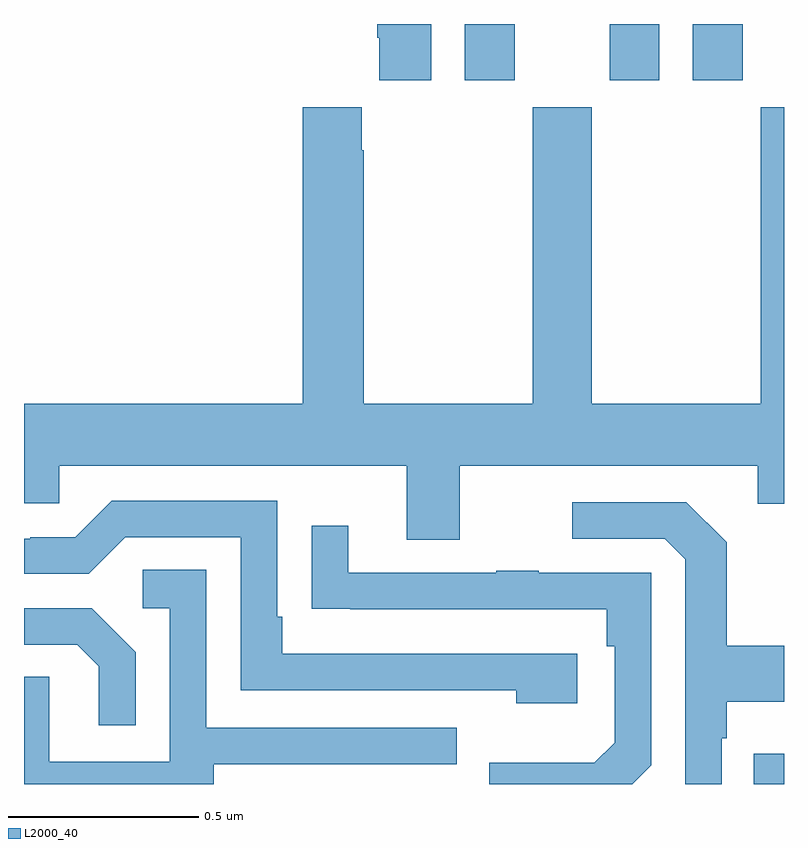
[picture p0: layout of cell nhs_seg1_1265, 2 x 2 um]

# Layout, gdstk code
import gdstk
lib = gdstk.Library(unit=1e-6, precision=1e-09)
def R(c, l, rs):  # rectangles x0, y0, x1, y1
    for r in rs: c.add(gdstk.rectangle(r[:2], r[2:], *l))
def P(c, l, *ps):  # polygons
    for p in ps: c.add(gdstk.Polygon(p, *l))
L2000_40 = (2000, 40)

nhs_seg1_1265 = lib.new_cell('nhs_seg1_1265')
R(nhs_seg1_1265, L2000_40, [(127.921,580.199,128,580.279), (127.16,582.051,127.291,582.199), (127.541,582.051,127.672,582.199), (127.76,582.051,127.891,582.199)])
P(nhs_seg1_1265, L2000_40, [(127.072,582.199),(126.929,582.199),(126.929,582.163),(126.935,582.163),(126.935,582.051),(127.072,582.051)],
  [(127.147,581.036),(127.931,581.036),(127.931,580.937),(128,580.937),(128,581.98),(127.939,581.98),(127.939,581.2),(127.494,581.2),(127.494,581.98),(127.339,581.98),(127.339,581.2),(126.894,581.2),(126.894,581.867),(126.889,581.867),(126.889,581.98),(126.734,581.98),(126.734,581.2),(126,581.2),(126,580.938),(126.093,580.938),(126.093,581.036),(127.007,581.036),(127.007,580.842),(127.147,580.842)],
  [(127.456,580.542),(126.679,580.542),(126.679,580.639),(126.666,580.639),(126.666,580.944),(126.231,580.944),(126.135,580.848),(126.017,580.848),(126.017,580.845),(126,580.845),(126,580.752),(126.171,580.752),(126.267,580.848),(126.57,580.848),(126.57,580.446),(127.295,580.446),(127.295,580.412),(127.456,580.412)],
  [(127.836,580.319),(127.849,580.319),(127.849,580.415),(128,580.415),(128,580.563),(127.849,580.563),(127.849,580.835),(127.743,580.941),(127.443,580.941),(127.443,580.845),(127.686,580.845),(127.74,580.791),(127.74,580.199),(127.836,580.199)],
  [(127.65,580.248),(127.65,580.755),(127.355,580.755),(127.355,580.76),(127.243,580.76),(127.243,580.755),(126.853,580.755),(126.853,580.879),(126.757,580.879),(126.757,580.66),(126.859,580.66),(126.859,580.659),(127.534,580.659),(127.534,580.562),(127.554,580.562),(127.554,580.308),(127.501,580.255),(127.224,580.255),(127.224,580.199),(127.601,580.199)],
  [(126.499,580.251),(127.139,580.251),(127.139,580.347),(126.48,580.347),(126.48,580.763),(126.312,580.763),(126.312,580.662),(126.384,580.662),(126.384,580.257),(126.066,580.257),(126.066,580.481),(126,580.481),(126,580.199),(126.499,580.199)],
  [(126.294,580.546),(126.178,580.662),(126,580.662),(126,580.566),(126.14,580.566),(126.197,580.509),(126.197,580.353),(126.294,580.353)])

lib.write_gds('nhs_seg1_1265.gds')
